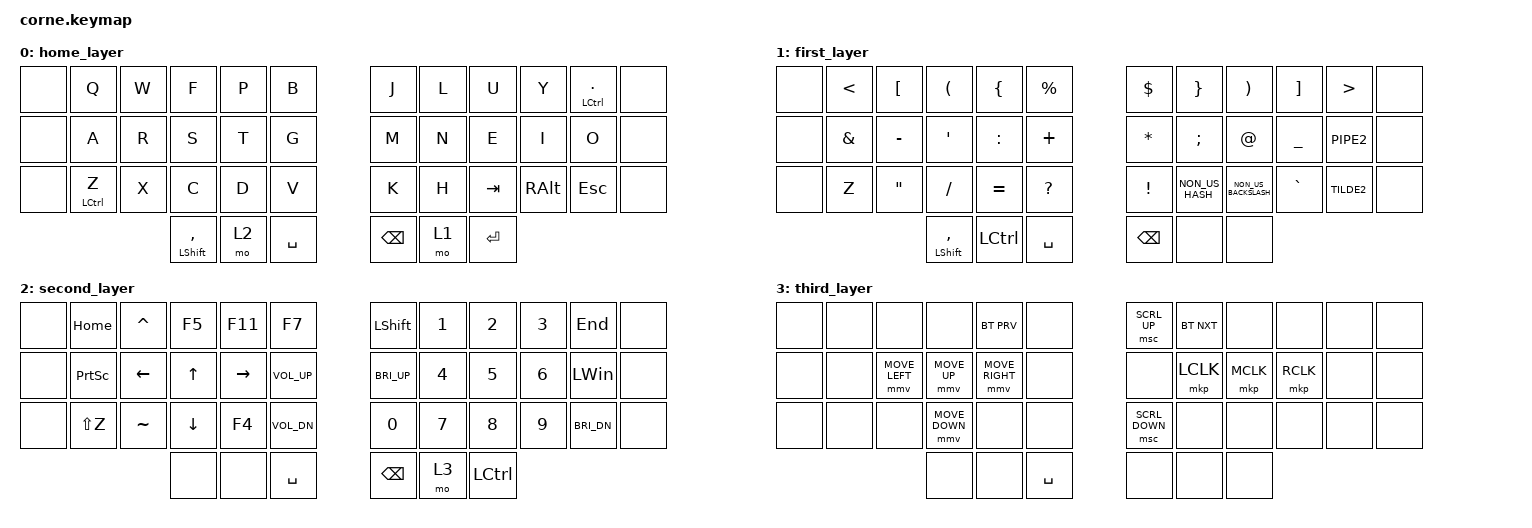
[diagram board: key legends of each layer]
/*
 * Copyright (c) 2020 The ZMK Contributors
 *
 * SPDX-License-Identifier: MIT
 */


#include <behaviors.dtsi>
#include <dt-bindings/zmk/keys.h>
#include <dt-bindings/zmk/bt.h>
#include <dt-bindings/zmk/mouse.h>

#define home_layer 0
#define first_layer 1
#define second_layer 2
#define third_layer 3

&mmv {
    time-to-max-speed-ms = <500>;
    acceleration-exponent = <1>;
};
   
&msc {
    time-to-max-speed-ms = <500>;
    acceleration-exponent = <1>;
};

&mt {
    tapping-term-ms = <300>;
};

/ {
    keymap {
        compatible = "zmk,keymap";

        home_layer {
            bindings = <                                                  &none &kp Q &kp W &kp F &kp P &kp B              &kp J &kp L &kp U &kp Y &mt LCTRL DOT &none
                                                                          &none &kp A &kp R &kp S &kp T &kp G              &kp M &kp N &kp E &kp I &kp O &none 
                                                                    &none &mt LCTRL Z &kp X &kp C &kp D &kp V              &kp K &kp H &kp TAB &kp RIGHT_ALT &kp ESC &none
                                                                             &mt LSHIFT COMMA &mo 2 &kp SPACE              &kp BACKSPACE &mo 1 &kp RET>;
        };

        first_layer {
            bindings = < &none &kp LESS_THAN &kp LEFT_BRACKET &kp LEFT_PARENTHESIS &kp LEFT_BRACE &kp PERCENT              &kp DOLLAR &kp RIGHT_BRACE &kp RIGHT_PARENTHESIS &kp RIGHT_BRACKET &kp GREATER_THAN &none
                                             &none &kp AMPERSAND  &kp MINUS &kp APOSTROPHE &kp COLON &kp PLUS              &kp ASTERISK &kp SEMI &kp AT_SIGN &kp UNDERSCORE &kp PIPE2 &none
                                               &none &kp Z &kp DOUBLE_QUOTES &kp SLASH &kp EQUAL &kp QUESTION              &kp EXCLAMATION &kp NON_US_HASH &kp NON_US_BACKSLASH &kp GRAVE &kp TILDE2 &none
                                                                         &mt LSHIFT COMMA &kp LCTRL &kp SPACE              &kp BACKSPACE &none &none>;
        };

        second_layer {
            bindings = <                                       &none &kp HOME &kp CARET &kp F5 &kp F11 &kp F7              &kp LSHIFT &kp N1 &kp N2 &kp N3 &kp END &none
                               &none &kp PRINTSCREEN &kp LEFT_ARROW &kp UP_ARROW &kp RIGHT_ARROW &kp C_VOL_UP              &kp C_BRI_UP &kp N4 &kp N5 &kp N6 &kp LWIN &none
                                                 &none &kp LS(Z) &kp TILDE &kp DOWN_ARROW &kp F4 &kp C_VOL_DN              &kp N0 &kp N7 &kp N8 &kp N9 &kp C_BRI_DN &none
                                                                                        &none &none &kp SPACE              &kp BACKSPACE &mo 3 &kp LCTRL>;
        };

        third_layer {
            bindings = <                                             &none &none &none &none &bt BT_PRV &none              &msc SCRL_UP &bt BT_NXT &none &none &none &none
                                                &none &none &mmv MOVE_LEFT &mmv MOVE_UP &mmv MOVE_RIGHT &none              &none &mkp LCLK &mkp MCLK &mkp RCLK &none &none
                                                                 &none &none &none &mmv MOVE_DOWN &none &none              &msc SCRL_DOWN &none &none &none &none &none
                                                                                        &none &none &kp SPACE              &none &none &none>;
        };
    };
};
